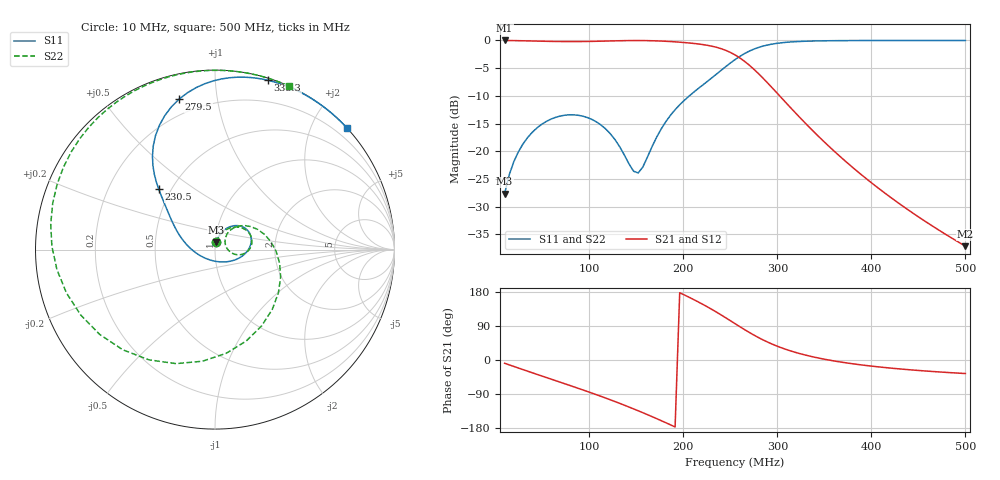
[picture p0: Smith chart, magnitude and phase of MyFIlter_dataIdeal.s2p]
! Created Fri Dec 19 17:52:48 2025
# hz S ma R 50
! 2 Port Network Data from SP1.SP block
! freq  magS11  angS11  magS21  angS21  magS12  angS12  magS22  angS22
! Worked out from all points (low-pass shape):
!   101 points, 10 MHz to 500 MHz, reference 50 ohm
!   highest |S21| = -0.01 dB at 10 MHz (marker M1); lowest = -37.1 dB at 500 MHz (marker M2)
!   |S21| within 3 dB of the highest: start of sweep to 258.8 MHz
!   lowest |S11| = -27.6 dB at 10 MHz (marker M3), VSWR 1.09, Z = 50.4 + j4.16 ohm
!   |S11| at or under -10 dB: start of sweep to 206.4 MHz
!   |S22| runs from -27.6 to 0.0 dB; largest |S21 - S12| = 0
!   S11 on the Smith chart (normalised r, x): 10 MHz: 1.01, +0.08; 230.5 MHz: 0.43, +0.37; 279.5 MHz: 0.12, +0.78; 338.3 MHz: 0.02, +1.36; 500 MHz: 0.00, +2.55
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1e7  0.04157 81.8  0.9991 -8.6  0.9991 -8.6  0.04157 81.0
1.98e7  0.0807 73.8  0.9967 -17.0  0.9967 -17.0  0.0807 72.2
3.94e7  0.1484 57.9  0.9889 -33.7  0.9889 -33.7  0.1484 54.8
6.39e7  0.2021 38.1  0.9794 -54.2  0.9794 -54.2  0.2021 33.5
9.33e7  0.2074 13.1  0.9783 -79.0  0.9783 -79.0  0.2074 8.8
1.227e8  0.1432 -19.0  0.9897 -105.3  0.9897 -105.3  0.1432 -11.5
1.521e8  0.06385 -112.5  0.998 -134.0  0.998 -134.0  0.06385 24.4
1.766e8  0.1596 170.3  0.9872 -160.1  0.9872 -160.1  0.1596 49.5
1.913e8  0.2372 153.8  0.9715 -176.7  0.9715 -176.7  0.2372 32.8
2.06e8  0.3142 143.4  0.9494 165.8  0.9494 165.8  0.3142 8.2
2.207e8  0.3964 136.6  0.9181 146.9  0.9181 146.9  0.3964 -22.7
2.305e8  0.4612 132.9  0.8873 133.3  0.8873 133.3  0.4612 -46.2
2.403e8  0.5383 128.9  0.8428 118.9  0.8428 118.9  0.5383 -71.1
2.55e8  0.6714 120.8  0.7411 96.0  0.7411 96.0  0.6714 -108.9
2.648e8  0.7585 114.1  0.6517 80.8  0.6517 80.8  0.7585 -132.6
2.795e8  0.8622 103.4  0.5066 59.8  0.5066 59.8  0.8622 -163.7
2.991e8  0.9405 90.5  0.3398 37.2  0.3398 37.2  0.9405 164.0
3.187e8  0.9744 80.4  0.2249 20.5  0.2249 20.5  0.9744 140.7
3.383e8  0.9884 72.6  0.1517 8.1  0.1517 8.1  0.9884 123.6
3.726e8  0.9967 62.6  0.08121 -7.3  0.08121 -7.3  0.9967 102.8
4.216e8  0.9993 52.9  0.03783 -21.6  0.03783 -21.6  0.9993 83.9
5e8  0.9999 42.8  0.01395 -35.7  0.01395 -35.7  0.9999 65.8
